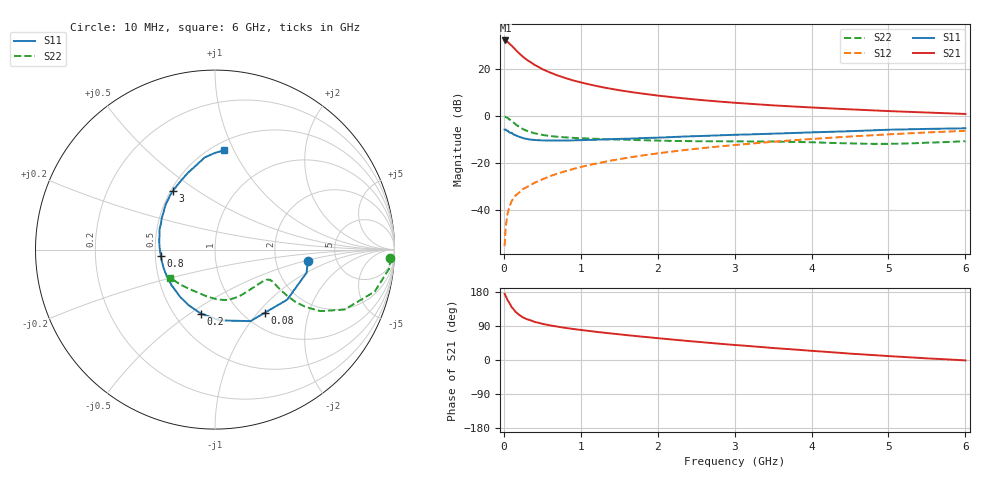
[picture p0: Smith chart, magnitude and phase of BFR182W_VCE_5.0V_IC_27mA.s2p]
! (c) 2017  Infineon Technologies AG, Munich
! Infineon Technologies  Discrete & RF Semiconductors
! BFR182W
! VCE =  5.0 V,  IC =  27 mA
! Common Emitter S-Parameters:  Jan 2017
# GHz  S  MA  R  50
!  f  S11  S21  S12  S22
! GHz  MAG  ANG  MAG  ANG  MAG  ANG  MAG  ANG
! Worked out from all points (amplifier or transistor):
!   77 points, 10 MHz to 6 GHz, reference 50 ohm
!   highest |S21| = 32.3 dB at 20 MHz (marker M1)
!   |S21| within 3 dB of that: start of sweep to 124.3 MHz
!   unconditionally stable (mu >= 1): 720.5 MHz to 2.262 GHz
!   at 130 MHz: K = 0.47, MSG = 31.9 dB, |S12| = -34.8 dB
!   at 2.2 GHz: K = 1.00, MAG = 11.1 dB, |S12| = -15.0 dB
!   at 6 GHz: K = 0.86, MSG = 3.6 dB, |S12| = -6.2 dB
!   S11 on the Smith chart (normalised r, x): 10 MHz: 3.07, -0.55; 80 MHz: 1.24, -1.09; 200 MHz: 0.67, -0.55; 800 MHz: 0.54, -0.04; 3 GHz: 0.51, +0.40; 6 GHz: 0.57, +0.91
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0.01  0.5217 -7.2  41.33 174.8  0.0017 83.7  0.9787 -2.7
0.02  0.5263 -14.2  41.36 170.5  0.0034 90.8  0.9767 -6.2
0.05  0.4895 -34.8  38.46 157.5  0.0086 79.3  0.9201 -14.7
0.08  0.4485 -51.5  34.35 147.7  0.0126 73.9  0.8425 -20.4
0.1  0.4448 -63.6  32.28 139.9  0.0153 71.9  0.7961 -24.8
0.15  0.3957 -86.0  26.45 127.5  0.0203 66.0  0.6791 -30.3
0.2  0.3648 -102.5  21.91 118.9  0.0236 65.5  0.5944 -32.4
0.25  0.3426 -115.7  18.55 112.3  0.0281 65.1  0.533 -33.0
0.3  0.3279 -126.0  15.94 107.7  0.0309 66.5  0.4883 -32.8
0.4  0.313 -140.9  12.45 100.5  0.0382 67.3  0.4333 -31.7
0.5  0.3066 -152.0  10.14 95.5  0.0452 69.9  0.4004 -30.6
0.6  0.304 -160.9  8.575 91.4  0.0529 70.2  0.3795 -29.5
0.8  0.3039 -173.7  6.531 84.7  0.0675 72.0  0.3556 -28.9
0.9  0.3063 -178.7  5.821 81.9  0.0752 72.0  0.3467 -29.0
1.1  0.3132 172.5  4.825 76.9  0.0906 71.9  0.3361 -30.0
1.5  0.3296 159.2  3.596 67.8  0.1216 70.8  0.3184 -34.1
2.1  0.3553 143.7  2.653 55.8  0.1699 67.5  0.3005 -44.6
3  0.403 125.7  1.942 39.6  0.2437 61.0  0.2923 -64.6
3.1  0.4068 123.9  1.893 38.2  0.252 60.1  0.2912 -66.7
4.1  0.4589 107.9  1.512 22.8  0.3363 51.3  0.2757 -88.7
5.1  0.5207 95.0  1.272 9.2  0.4194 41.6  0.2597 -120.4
6  0.5551 84.9  1.121 -1.0  0.4898 32.3  0.2947 -147.9
